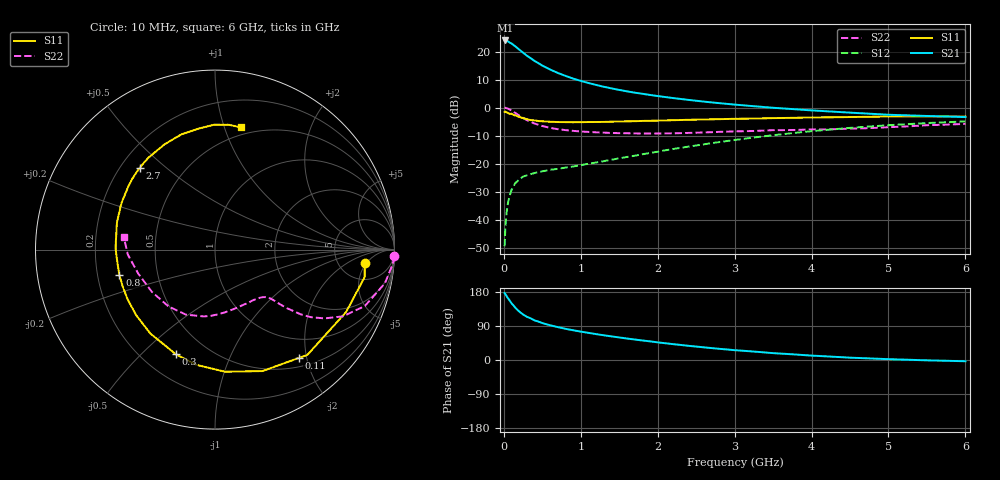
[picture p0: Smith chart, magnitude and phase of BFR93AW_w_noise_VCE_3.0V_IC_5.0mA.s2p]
! (c) 2017  Infineon Technologies AG, Munich
! Infineon Technologies  Discrete & RF Semiconductors
! BFR93AW
! VCE =  3.0 V,  IC =  5.0 mA
! Common Emitter S-Parameters:  Jan 2017
# GHz  S  MA  R  50
!  f  S11  S21  S12  S22
! GHz  MAG  ANG  MAG  ANG  MAG  ANG  MAG  ANG
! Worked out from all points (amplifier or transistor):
!   77 points, 10 MHz to 6 GHz, reference 50 ohm
!   highest |S21| = 23.9 dB at 20 MHz (marker M1)
!   |S21| within 3 dB of that: start of sweep to 189.1 MHz
!   unconditionally stable (mu >= 1): 1.002 GHz to 2.244 GHz
!   at 130 MHz: K = 0.19, MSG = 25.0 dB, |S12| = -27.8 dB
!   at 2.2 GHz: K = 1.01, MAG = 8.6 dB, |S12| = -14.8 dB
!   at 6 GHz: K = 0.92, MSG = 0.8 dB, |S12| = -4.9 dB
!   lowest NFmin = 1.18 dB at 450 MHz
!   S11 on the Smith chart (normalised r, x): 10 MHz: 9, -5; 110 MHz: 0.64, -1.86; 300 MHz: 0.34, -0.64; 800 MHz: 0.29, -0.12; 2.7 GHz: 0.28, +0.41; 6 GHz: 0.43, +1.14
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0.01  0.8376 -5.3  15.67 176.8  0.0034 87.8  0.9983 -2.2
0.02  0.8479 -10.4  15.73 173.7  0.0072 83.6  0.9936 -4.7
0.05  0.8091 -25.4  15.23 164.0  0.0189 75.7  0.9649 -11.2
0.1  0.7805 -48.7  13.93 149.6  0.0342 67.5  0.8924 -20.6
0.11  0.7627 -52.4  13.56 147.4  0.0363 65.1  0.8736 -21.9
0.15  0.7268 -68.6  12.33 137.6  0.0453 58.0  0.8031 -27.6
0.2  0.6828 -85.3  10.82 127.9  0.0524 52.4  0.7213 -32.1
0.25  0.6505 -99.1  9.532 120.0  0.059 48.2  0.6532 -35.2
0.3  0.6227 -110.4  8.412 114.0  0.0624 45.4  0.5972 -37.1
0.4  0.5903 -127.6  6.779 104.5  0.0684 43.4  0.5195 -39.1
0.5  0.5713 -140.4  5.611 97.5  0.0733 42.6  0.4702 -40.1
0.6  0.56 -150.4  4.784 91.7  0.078 43.5  0.4366 -40.7
0.8  0.5516 -165.1  3.684 82.4  0.0854 46.8  0.3977 -42.3
0.9  0.5485 -171.2  3.296 78.5  0.0894 48.2  0.3854 -43.4
1.1  0.5538 179.2  2.745 71.6  0.0999 52.0  0.3691 -46.4
1.5  0.5668 164.4  2.068 59.5  0.1248 57.6  0.3509 -54.8
2.1  0.5911 146.8  1.543 44.2  0.1735 61.5  0.3469 -72.0
2.7  0.6188 132.5  1.24 31.5  0.2325 60.8  0.3652 -90.7
3.1  0.6344 123.8  1.103 24.5  0.2763 58.3  0.3794 -102.5
4.1  0.6699 104.5  0.877 10.6  0.3911 48.5  0.409 -132.8
5.1  0.6957 89.2  0.739 1.6  0.4948 35.6  0.4537 -165.8
6  0.696 78.1  0.679 -3.3  0.5678 23.8  0.5136 172.1
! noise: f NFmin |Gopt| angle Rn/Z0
0.45  1.18  0.25  77  0.14
0.9  1.5  0.29  137  0.15
1.9  2.75  0.49  -153  0.19
2.4  3.37  0.57  -135  0.38
